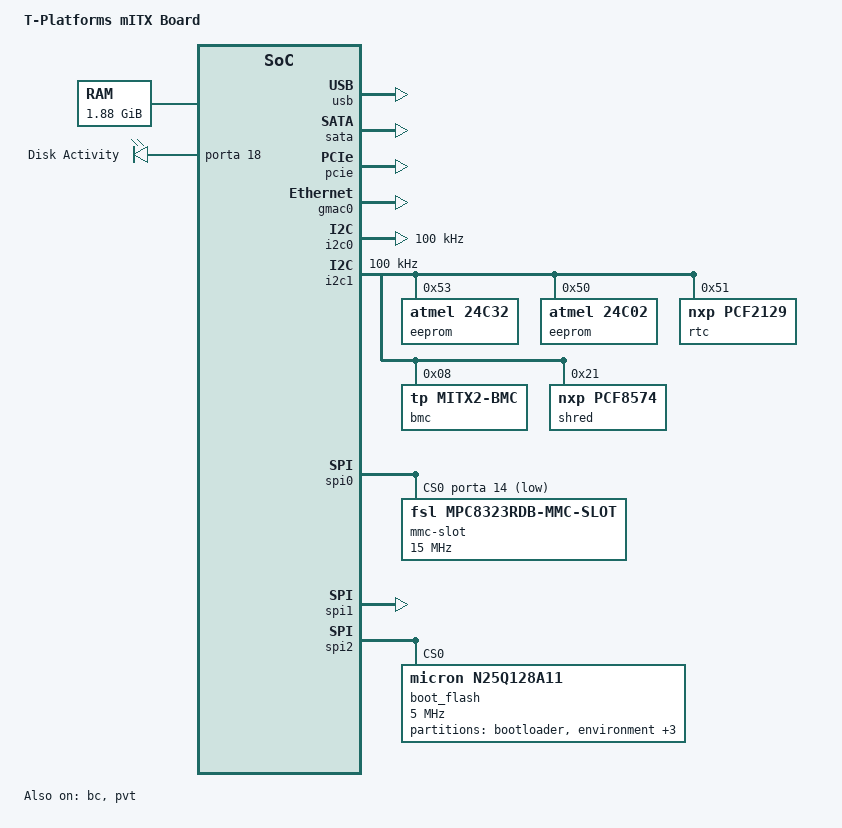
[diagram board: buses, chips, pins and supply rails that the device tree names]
/*
 * T-Platforms mITX board device tree.
 */

#include <dt-bindings/interrupt-controller/mips-gic.h>
#include <dt-bindings/gpio/gpio.h>

/dts-v1/;

#include "baikal_t1_soc.dtsi"

/ {
	model = "T-Platforms mITX Board";
	compatible = "baikal,mips", "baikal,baikal-t1-soc";
	#address-cells = <2>;
	#size-cells = <2>;
	interrupt-parent = <&gic>;

	chosen {
		bootargs = "root=/dev/ram rw console=ttyS0,115200n8 earlyprintk=uart8250,mmio32,0x1F04A000,115200 nohtw";
		linux,initrd-start = <0 0x02000000>;
		linux,initrd-end   = <0 0x03000000>;
	};

	memory {
		device_type = "memory";
		reg = <0 0x00000000 0 0x08000000>,
		      <0 0x20000000 0 0x70000000>;
	};

	leds {
		compatible = "gpio-leds";
		hdd {
			label = "Disk Activity";
			gpios = <&porta 18 GPIO_ACTIVE_HIGH>;
			linux,default-trigger = "heartbeat";
		};
	};

};

&usb {
	status = "okay";
};

&sata {
	status = "okay";
};

&pcie {
	status = "okay";
};

&gmac0 {
	status = "okay";
};

&gpio {
	status = "okay";
};

&gpio3 {
	status = "okay";
};

&i2c0 {
	status = "okay";
	clock-frequency = <100000>;
};

&i2c1 {
	status = "okay";
	clock-frequency = <100000>;

	eeprom@53 {
		compatible = "atmel,24c32";
		pagesize = <32>;
		reg = <0x53>;
	};

	eeprom@50 {
		compatible = "atmel,24c02";
		pagesize = <16>;
		reg = <0x50>;
	};

	rtc@51 {
		compatible = "nxp,pcf2129", "nxp,pcf2127";
		reg = <0x51>;
	};

	bmc@8 {
		compatible = "tp,mitx2-bmc", "t-platforms,mitx2-bmc";
		reg = <0x08>;
	};

	shred: gpio@21 {
		compatible = "nxp,pcf8574";
		reg = <0x21>;
		gpio-controller;
		#gpio-cells = <2>;
		lines-initial-states = <0x0>;
	};
};

&spi0 {
	num-cs = <2>;
	cs-gpios = <&porta 14 GPIO_ACTIVE_LOW>, <0>;
	status = "okay";

	mmc-slot@0 {
		compatible = "fsl,mpc8323rdb-mmc-slot", "mmc-spi-slot";
		reg = <0>;
//		gpios = <&porta 15 GPIO_ACTIVE_LOW>, <0>;
		voltage-ranges = <2000 3600>;
		spi-max-frequency = <15000000>;
	};
};

&spi1 {
	num-cs = <1>;
	cs-gpios = <0>;
	status = "okay";
};

&bc {
	status = "okay";
};

&spi2 {
	status = "okay";
	num-cs = <1>;

	boot_flash: n25q128a11@0 {
		#address-cells = <1>;
		#size-cells = <1>;
		compatible = "micron,n25q128a11", "jedec,spi-nor";
		reg = <0>;
		spi-max-frequency = <5000000>;
		m25p,fast-read;

		partition@0 {
			label = "bootloader";
			reg = <0x0 0xE0000>;
			read-only;
		};

		partition@1 {
			label = "environment";
			reg = <0xE0000 0x10000>;
		};

		partition@2 {
			label = "information";
			reg = <0xF0000 0x10000>;
			read-only;
		};

		partition@3 {
			label = "multiimage";
			reg = <0x100000 0xF00000>;
			read-only;
		};

		partition@4 {
			label = "firmware";
			reg = <0x0 0x1000000>;
		};
	};
};

&pvt {
	status = "okay";
};
